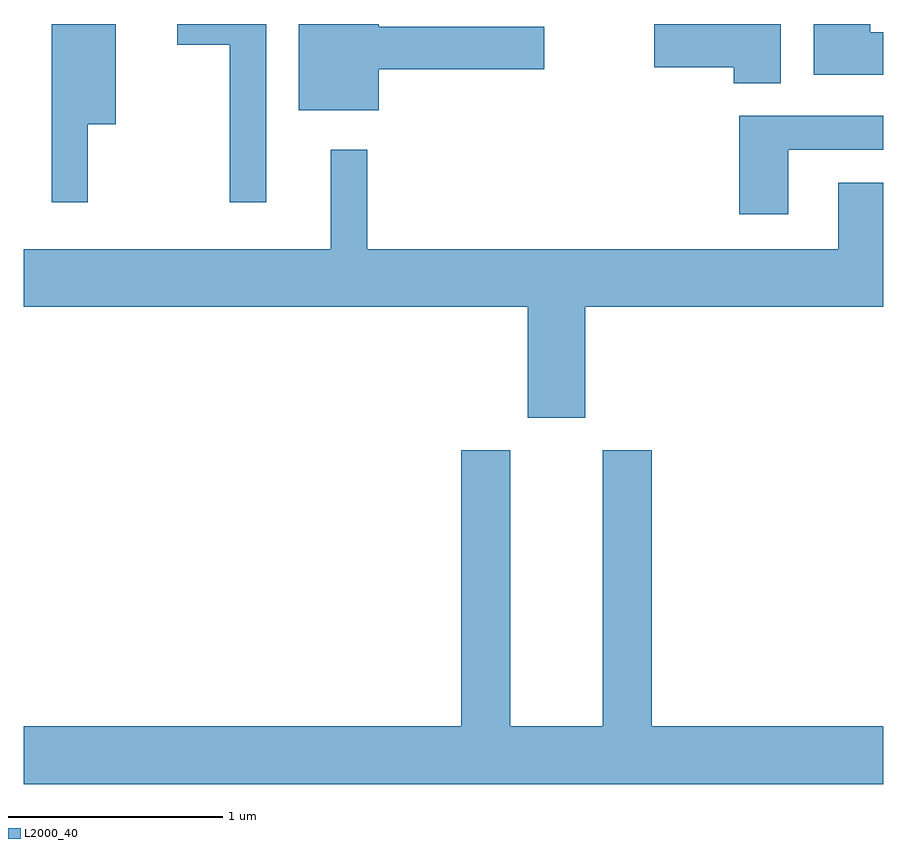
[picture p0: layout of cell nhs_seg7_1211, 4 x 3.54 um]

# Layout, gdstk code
import gdstk
lib = gdstk.Library(unit=1e-6, precision=1e-09)
def P(c, l, *ps):  # polygons
    for p in ps: c.add(gdstk.Polygon(p, *l))
L2000_40 = (2000, 40)

nhs_seg7_1211 = lib.new_cell('nhs_seg7_1211')
P(nhs_seg7_1211, L2000_40, [(223.264,1762.041),(224.034,1762.041),(224.034,1762.239),(223.264,1762.239),(223.264,1762.252),(222.891,1762.252),(222.891,1761.851),(223.264,1761.851)],
  [(222.739,1762.252),(222.326,1762.252),(222.326,1762.156),(222.571,1762.156),(222.571,1761.423),(222.739,1761.423)],
  [(225.611,1762.214),(225.549,1762.214),(225.549,1762.252),(225.286,1762.252),(225.286,1762.016),(225.611,1762.016)],
  [(225.134,1762.252),(224.546,1762.252),(224.546,1762.051),(224.916,1762.051),(224.916,1761.976),(225.134,1761.976)],
  [(221.909,1761.786),(222.039,1761.786),(222.039,1762.252),(221.741,1762.252),(221.741,1761.423),(221.909,1761.423)],
  [(225.169,1761.666),(225.611,1761.666),(225.611,1761.824),(224.941,1761.824),(224.941,1761.366),(225.169,1761.366)],
  [(224.224,1760.936),(225.611,1760.936),(225.611,1761.514),(225.401,1761.514),(225.401,1761.204),(223.209,1761.204),(223.209,1761.668),(223.041,1761.668),(223.041,1761.204),(221.611,1761.204),(221.611,1760.936),(223.956,1760.936),(223.956,1760.421),(224.224,1760.421)],
  [(225.611,1758.984),(224.534,1758.984),(224.534,1760.269),(224.306,1760.269),(224.306,1758.984),(223.874,1758.984),(223.874,1760.269),(223.646,1760.269),(223.646,1758.984),(221.611,1758.984),(221.611,1758.716),(225.611,1758.716)])

lib.write_gds('nhs_seg7_1211.gds')
